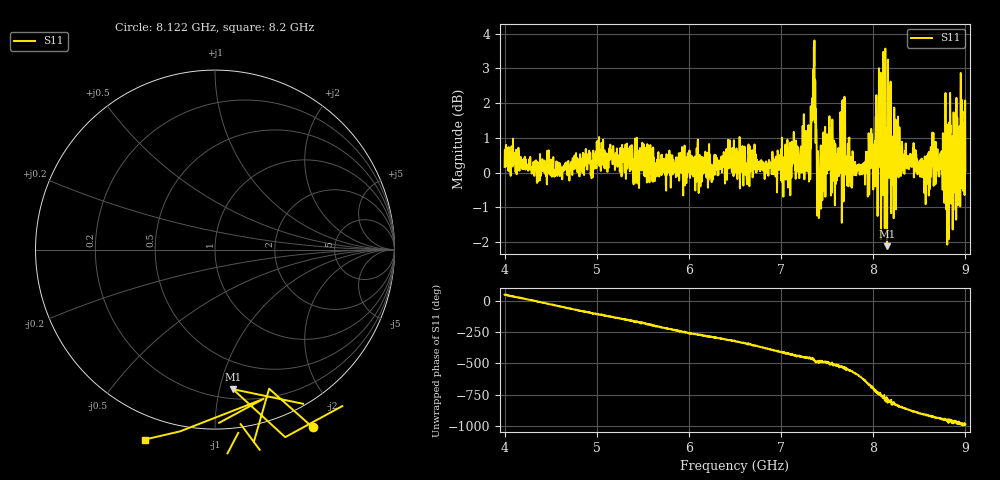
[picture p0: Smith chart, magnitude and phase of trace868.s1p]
! Created with skrf 1.8.0 (http://scikit-rf.org).
# Hz S RI R 50.0
!freq ReS11 ImS11
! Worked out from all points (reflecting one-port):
!   1601 points, 4 GHz to 9 GHz, reference 50 ohm
!   lowest |S11| = -2.1 dB at 8.15 GHz (marker M1), VSWR 8.26, Z = 13.6 - j54.9 ohm
!   phase of S11 starts at 52 deg and turns -1041 deg over the sweep
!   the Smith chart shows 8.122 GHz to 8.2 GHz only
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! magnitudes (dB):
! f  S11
! 4 GHz  0.2
! 4.625 GHz  -0.2
! 5.25 GHz  0.0
! 5.875 GHz  0.2
! 6.5 GHz  0.5
! 7.075 GHz  -0.4
! 7.125 GHz  0.5
! 7.294 GHz  0.4
! 7.353 GHz  2.2
! 7.412 GHz  -1.3
! 7.512 GHz  1.0
! 7.616 GHz  0.1
! 7.669 GHz  1.7
! 7.75 GHz  -0.3
! 7.922 GHz  0.6
! 8.022 GHz  -0.4
! 8.056 GHz  1.4
! 8.066 GHz  1.3
! 8.15 GHz  -2.1
! 8.181 GHz  1.5
! 8.216 GHz  1.0
! 8.262 GHz  0.0
! 8.375 GHz  0.5
! 8.591 GHz  0.5
! 8.759 GHz  -0.3
! 8.797 GHz  1.4
! 8.972 GHz  0.5
! 9 GHz  0.0
